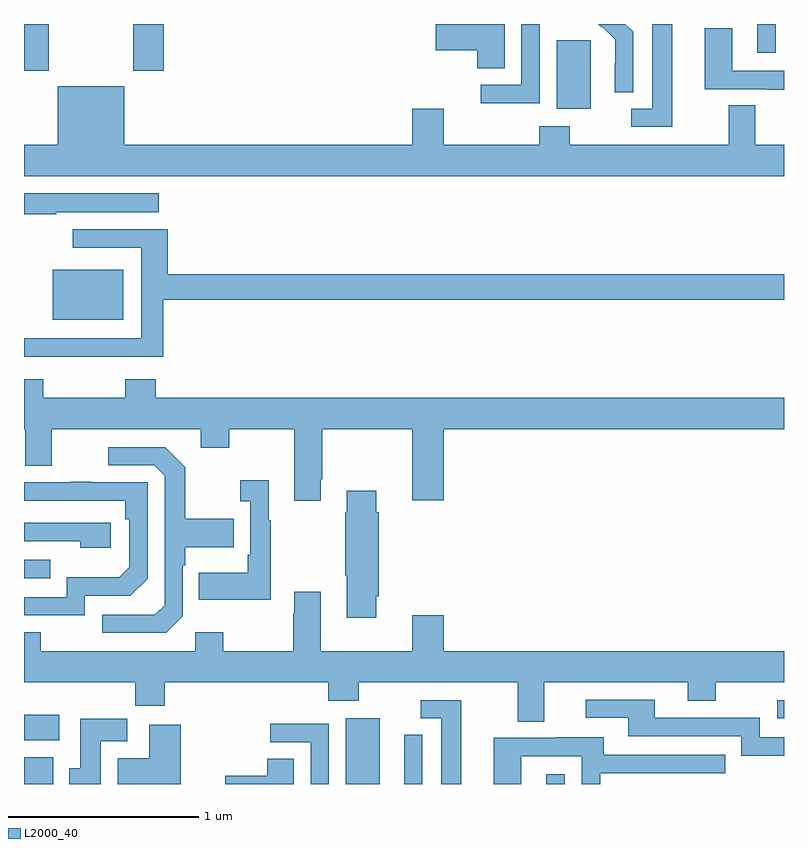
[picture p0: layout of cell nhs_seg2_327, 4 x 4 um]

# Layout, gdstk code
import gdstk
lib = gdstk.Library(unit=1e-6, precision=1e-09)
def R(c, l, rs):  # rectangles x0, y0, x1, y1
    for r in rs: c.add(gdstk.rectangle(r[:2], r[2:], *l))
def P(c, l, *ps):  # polygons
    for p in ps: c.add(gdstk.Polygon(p, *l))
L2000_40 = (2000, 40)

nhs_seg2_327 = lib.new_cell('nhs_seg2_327')
R(nhs_seg2_327, L2000_40, [(127,613.8,127.153,613.942), (128.693,613.8,128.872,614.146), (129.749,613.8,129.846,613.852), (127,614.03,127.186,614.164), (130.965,614.145,131,614.241), (127,614.883,127.139,614.979), (127.151,616.244,127.522,616.507), (129.803,617.354,129.982,617.715), (127,617.553,127.131,617.8), (127.576,617.553,127.736,617.8), (130.859,617.649,130.956,617.8)])
P(nhs_seg2_327, L2000_40, [(130.411,617.8),(130.307,617.8),(130.307,617.355),(130.197,617.355),(130.197,617.259),(130.411,617.259)],
  [(129.529,617.8),(129.168,617.8),(129.168,617.662),(129.386,617.662),(129.386,617.566),(129.529,617.566)],
  [(130.206,617.758),(130.164,617.8),(130.022,617.8),(130.038,617.784),(130.041,617.787),(130.112,617.717),(130.112,617.594),(130.11,617.594),(130.11,617.44),(130.206,617.44)],
  [(129.714,617.8),(129.618,617.8),(129.618,617.481),(129.405,617.481),(129.405,617.383),(129.714,617.383)],
  [(131,617.553),(130.728,617.553),(130.728,617.777),(130.583,617.777),(130.583,617.457),(130.907,617.457),(130.907,617.453),(131,617.453)],
  [(131,617.164),(130.849,617.164),(130.849,617.372),(130.709,617.372),(130.709,617.164),(129.873,617.164),(129.873,617.263),(129.713,617.263),(129.713,617.164),(129.208,617.164),(129.208,617.353),(129.044,617.353),(129.044,617.164),(127.528,617.164),(127.528,617.473),(127.178,617.473),(127.178,617.164),(127,617.164),(127,617),(131,617)],
  [(127.169,616.808),(127.708,616.808),(127.708,616.909),(127,616.909),(127,616.798),(127.169,616.798)],
  [(127.445,616.05),(127.733,616.05),(127.733,616.348),(131,616.348),(131,616.484),(127.757,616.484),(127.757,616.719),(127.257,616.719),(127.257,616.623),(127.617,616.623),(127.617,616.146),(127,616.146),(127,616.05),(127.189,616.05),(127.189,616.049),(127.445,616.049)],
  [(128.563,615.403),(128.571,615.403),(128.571,615.668),(129.044,615.668),(129.044,615.294),(129.208,615.294),(129.208,615.668),(131,615.668),(131,615.832),(127.694,615.832),(127.694,615.931),(127.534,615.931),(127.534,615.832),(127.101,615.832),(127.101,615.931),(127,615.931),(127,615.668),(127.007,615.668),(127.007,615.474),(127.147,615.474),(127.147,615.668),(127.931,615.668),(127.931,615.569),(128.079,615.569),(128.079,615.668),(128.423,615.668),(128.423,615.291),(128.563,615.291)],
  [(127.836,614.682),(127.836,614.951),(127.849,614.951),(127.849,615.047),(128.105,615.047),(128.105,615.195),(127.849,615.195),(127.849,615.467),(127.743,615.573),(127.443,615.573),(127.443,615.477),(127.686,615.477),(127.74,615.423),(127.74,614.742),(127.689,614.691),(127.413,614.691),(127.413,614.595),(127.749,614.595)],
  [(128.299,615.187),(128.287,615.187),(128.287,615.4),(128.139,615.4),(128.139,615.287),(128.19,615.287),(128.19,615.007),(128.178,615.007),(128.178,614.911),(127.921,614.911),(127.921,614.771),(128.299,614.771)],
  [(127.32,614.79),(127.56,614.79),(127.65,614.88),(127.65,615.387),(127.355,615.387),(127.355,615.392),(127.243,615.392),(127.243,615.387),(127,615.387),(127,615.291),(127.534,615.291),(127.534,615.194),(127.554,615.194),(127.554,614.94),(127.501,614.887),(127.224,614.887),(127.224,614.784),(127,614.784),(127,614.688),(127.32,614.688)],
  [(128.854,614.788),(128.867,614.788),(128.867,615.23),(128.854,615.23),(128.854,615.343),(128.699,615.343),(128.699,615.23),(128.692,615.23),(128.692,614.899),(128.699,614.899),(128.699,614.676),(128.854,614.676)],
  [(127.456,615.174),(127,615.174),(127,615.078),(127.295,615.078),(127.295,615.044),(127.456,615.044)],
  [(129.739,614.336),(130.493,614.336),(130.493,614.237),(130.641,614.237),(130.641,614.336),(131,614.336),(131,614.5),(129.208,614.5),(129.208,614.689),(129.044,614.689),(129.044,614.5),(128.563,614.5),(128.563,614.812),(128.423,614.812),(128.423,614.699),(128.416,614.699),(128.416,614.5),(128.049,614.5),(128.049,614.599),(127.902,614.599),(127.902,614.5),(127.089,614.5),(127.089,614.599),(127,614.599),(127,614.336),(127.585,614.336),(127.585,614.212),(127.742,614.212),(127.742,614.336),(128.602,614.336),(128.602,614.237),(128.763,614.237),(128.763,614.336),(129.599,614.336),(129.599,614.128),(129.739,614.128)],
  [(131,614.046),(130.872,614.046),(130.872,614.148),(130.321,614.148),(130.321,614.244),(129.957,614.244),(129.957,614.148),(130.181,614.148),(130.181,614.052),(130.776,614.052),(130.776,613.949),(131,613.949)],
  [(129.301,614.241),(129.087,614.241),(129.087,614.145),(129.197,614.145),(129.197,613.8),(129.301,613.8)],
  [(127.405,614.024),(127.544,614.024),(127.544,614.143),(127.295,614.143),(127.295,613.884),(127.238,613.884),(127.238,613.8),(127.405,613.8)],
  [(128.604,614.118),(128.295,614.118),(128.295,614.019),(128.508,614.019),(128.508,613.8),(128.604,613.8)],
  [(127.824,614.113),(127.658,614.113),(127.658,613.936),(127.493,613.936),(127.493,613.8),(127.824,613.8)],
  [(129.096,614.06),(129,614.06),(129,613.906),(129.002,613.906),(129.002,613.8),(129.096,613.8)],
  [(129.618,613.947),(129.936,613.947),(129.936,613.8),(130.032,613.8),(130.032,613.857),(130.691,613.857),(130.691,613.953),(130.051,613.953),(130.051,614.047),(129.797,614.047),(129.797,614.043),(129.473,614.043),(129.473,613.8),(129.618,613.8)],
  [(128.419,613.934),(128.281,613.934),(128.281,613.844),(128.058,613.844),(128.058,613.8),(128.419,613.8)])

lib.write_gds('nhs_seg2_327.gds')
